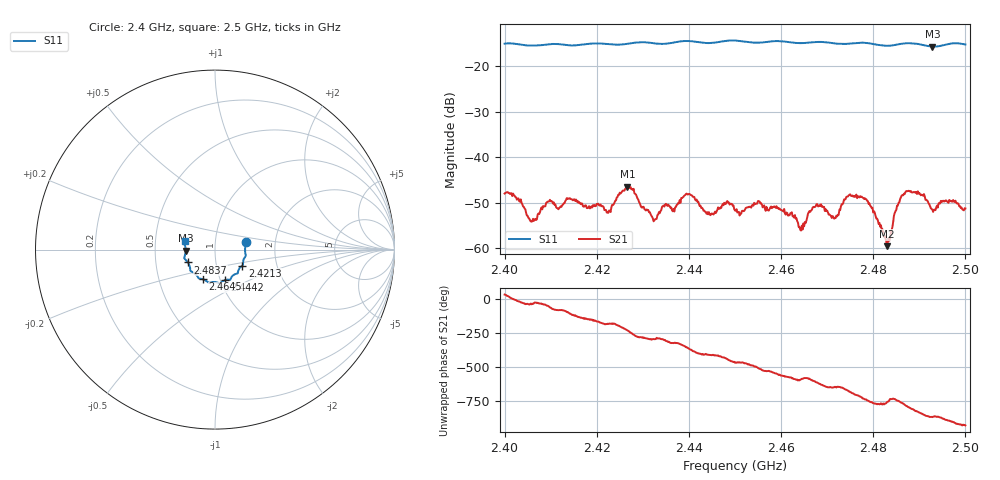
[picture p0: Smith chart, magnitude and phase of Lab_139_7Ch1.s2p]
# Hz S RI R 50
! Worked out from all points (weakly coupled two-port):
!   601 points, 2.4 GHz to 2.5 GHz, reference 50 ohm
!   highest |S21| = -46.51 dB at 2.4267 GHz (marker M1); lowest = -59.5 dB at 2.483 GHz (marker M2)
!   lowest |S11| = -15.7 dB at 2.4928 GHz (marker M3), VSWR 1.39, Z = 36 - j0.371 ohm
!   |S11| at or under -10 dB: start of sweep to end of sweep
!   S12 and S22 are empty: the file has one direction only
!   S11 on the Smith chart (normalised r, x): 2.4 GHz: 1.41, +0.12; 2.4213 GHz: 1.33, -0.25; 2.4442 GHz: 1.05, -0.37; 2.4645 GHz: 0.83, -0.29; 2.4837 GHz: 0.73, -0.11; 2.5 GHz: 0.71, +0.07
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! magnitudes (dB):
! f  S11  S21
! 2.4 GHz  -15.1  -48.0
! 2.406 GHz  -15.5  -54.1
! 2.4097 GHz  -15.2  -49.7
! 2.4167 GHz  -15.3  -50.1
! 2.4213 GHz  -15.1  -50.8
! 2.4267 GHz  -15.1  -46.5
! 2.4333 GHz  -15.1  -52.6
! 2.4398 GHz  -14.5  -48.2
! 2.4442 GHz  -15.0  -52.5
! 2.45 GHz  -14.4  -51.7
! 2.4553 GHz  -14.9  -49.7
! 2.4645 GHz  -15.0  -55.1
! 2.4667 GHz  -14.8  -51.6
! 2.4715 GHz  -15.0  -53.5
! 2.4745 GHz  -15.1  -48.6
! 2.4777 GHz  -14.9  -48.9
! 2.483 GHz  -15.5  -59.5
! 2.4833 GHz  -15.6  -57.8
! 2.4837 GHz  -15.5  -57.7
! 2.4872 GHz  -15.0  -47.4
! 2.4928 GHz  -15.7  -51.5
! 2.5 GHz  -15.3  -51.3
